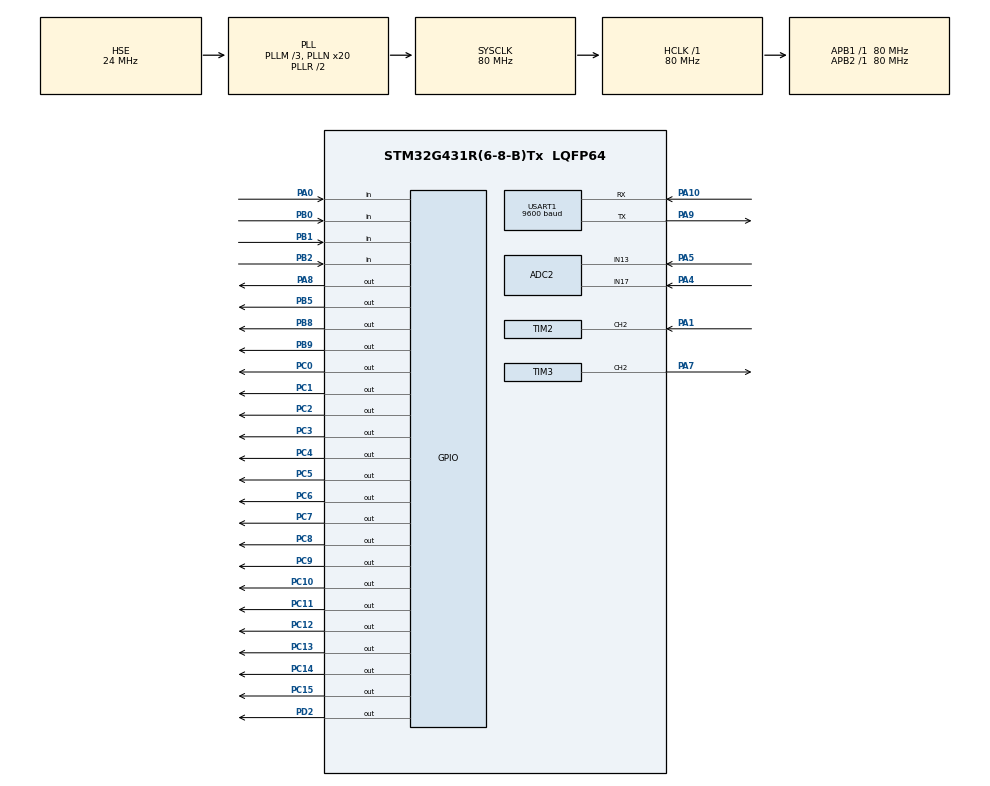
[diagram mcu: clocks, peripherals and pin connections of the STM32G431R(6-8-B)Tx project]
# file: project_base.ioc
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ADC2.Channel-2\#ChannelRegularConversion=ADC_CHANNEL_13
ADC2.Channel-6\#ChannelRegularConversion=ADC_CHANNEL_17
ADC2.EOCSelection=ADC_EOC_SINGLE_CONV
ADC2.EnableInjectedConversion=DISABLE
ADC2.EnableRegularConversion=ENABLE
ADC2.LowPowerAutoWait=DISABLE
ADC2.NbrOfConversion=2
ADC2.NbrOfConversionFlag=1
ADC2.OffsetNumber-2\#ChannelRegularConversion=ADC_OFFSET_NONE
ADC2.OffsetNumber-6\#ChannelRegularConversion=ADC_OFFSET_NONE
ADC2.Rank-2\#ChannelRegularConversion=1
ADC2.Rank-6\#ChannelRegularConversion=2
ADC2.SamplingTime-2\#ChannelRegularConversion=ADC_SAMPLETIME_640CYCLES_5
ADC2.SamplingTime-6\#ChannelRegularConversion=ADC_SAMPLETIME_640CYCLES_5
Mcu.Family=STM32G4
Mcu.Name=STM32G431R(6-8-B)Tx
Mcu.Package=LQFP64
NVIC.PriorityGroup=NVIC_PRIORITYGROUP_4
NVIC.TIM1_TRG_COM_TIM17_IRQn=true\:0\:0\:false\:false\:true\:true\:true\:true
NVIC.TIM2_IRQn=true\:0\:0\:false\:false\:true\:true\:true\:true
NVIC.TIM3_IRQn=true\:0\:0\:false\:false\:true\:true\:true\:true
NVIC.USART1_IRQn=true\:0\:0\:false\:false\:true\:true\:true\:true
PA0.GPIO_PuPd=GPIO_PULLUP
PA0.Signal=GPIO_Input
PA1.Signal=S_TIM2_CH2
PA10.Mode=Asynchronous
PA10.Signal=USART1_RX
PA13.Mode=Serial_Wire
PA13.Signal=SYS_JTMS-SWDIO
PA14.Mode=Serial_Wire
PA14.Signal=SYS_JTCK-SWCLK
PA4.Mode=IN17-Single-Ended
PA4.Signal=ADC2_IN17
PA5.Mode=IN13-Single-Ended
PA5.Signal=ADC2_IN13
PA7.Signal=S_TIM3_CH2
PA8.Signal=GPIO_Output
PA9.Mode=Asynchronous
PA9.Signal=USART1_TX
PB0.GPIO_PuPd=GPIO_PULLUP
PB0.Signal=GPIO_Input
PB1.GPIO_PuPd=GPIO_PULLUP
PB1.Signal=GPIO_Input
PB2.GPIO_PuPd=GPIO_PULLUP
PB2.Signal=GPIO_Input
PB5.Signal=GPIO_Output
PB8-BOOT0.Signal=GPIO_Output
PB9.Signal=GPIO_Output
PC0.Signal=GPIO_Output
PC1.Signal=GPIO_Output
PC10.Signal=GPIO_Output
PC11.Signal=GPIO_Output
PC12.Signal=GPIO_Output
PC13.Signal=GPIO_Output
PC14-OSC32_IN.Signal=GPIO_Output
PC15-OSC32_OUT.Signal=GPIO_Output
PC2.Signal=GPIO_Output
PC3.Signal=GPIO_Output
PC4.Signal=GPIO_Output
PC5.Signal=GPIO_Output
PC6.Signal=GPIO_Output
PC7.Signal=GPIO_Output
PC8.Signal=GPIO_Output
PC9.Signal=GPIO_Output
PD2.Signal=GPIO_Output
PF0-OSC_IN.Mode=HSE-External-Oscillator
PF0-OSC_IN.Signal=RCC_OSC_IN
PF1-OSC_OUT.Mode=HSE-External-Oscillator
PF1-OSC_OUT.Signal=RCC_OSC_OUT
ProjectManager.HeapSize=0x200
ProjectManager.StackSize=0x400
ProjectManager.TargetToolchain=MDK-ARM V5.32
RCC.ADC12Freq_Value=80000000
RCC.AHBFreq_Value=80000000
RCC.APB1Freq_Value=80000000
RCC.APB1TimFreq_Value=80000000
RCC.APB2Freq_Value=80000000
RCC.APB2TimFreq_Value=80000000
RCC.CortexFreq_Value=80000000
RCC.EXTERNAL_CLOCK_VALUE=12288000
RCC.HCLKFreq_Value=80000000
RCC.HSE_VALUE=24000000
RCC.HSI48_VALUE=48000000
RCC.HSI_VALUE=16000000
RCC.LSE_VALUE=32768
RCC.PLLM=RCC_PLLM_DIV3
RCC.PLLN=20
RCC.PLLSourceVirtual=RCC_PLLSOURCE_HSE
RCC.SYSCLKFreq_VALUE=80000000
RCC.SYSCLKSource=RCC_SYSCLKSOURCE_PLLCLK
RCC.USBFreq_Value=80000000
RCC.VCOOutputFreq_Value=160000000
SH.S_TIM2_CH2.0=TIM2_CH2,Input_Capture2_from_TI2
SH.S_TIM2_CH2.1=TIM2_CH2,TriggerSource_TI2FP2
SH.S_TIM3_CH2.0=TIM3_CH2
SH.S_TIM3_CH2.1=TIM3_CH2,PWM Generation2 CH2
TIM17.PeriodNoDither=100-1
TIM17.Prescaler=800-1
TIM2.Channel-Input_Capture2_from_TI2=TIM_CHANNEL_2
TIM2.Prescaler=80-1
TIM3.Channel-PWM\ Generation2\ CH2=TIM_CHANNEL_2
TIM3.PeriodNoDither=100-1
TIM3.Prescaler=80-1
USART1.BaudRate=9600
USART1.VirtualMode-Asynchronous=VM_ASYNC
VP_SYS_VS_DBSignals.Mode=DisableDeadBatterySignals
VP_TIM17_VS_ClockSourceINT.Mode=Enable_Timer
VP_TIM2_VS_ClockSourceINT.Mode=Internal
VP_TIM2_VS_ControllerModeReset.Mode=Reset Mode
board=custom

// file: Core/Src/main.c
/* USER CODE BEGIN Header */
/**
  ******************************************************************************
  * @file           : main.c
  * @brief          : Main program body
  ******************************************************************************
  * @attention
  *
  * Copyright (c) 2025 STMicroelectronics.
  * All rights reserved.
  *
  * This software is licensed under terms that can be found in the LICENSE file
  * in the root directory of this software component.
  * If no LICENSE file comes with this software, it is provided AS-IS.
  *
  ******************************************************************************
  */
/* USER CODE END Header */
#include "main.h"
#include "adc.h"
#include "tim.h"
#include "usart.h"
#include "gpio.h"

void SystemClock_Config(void);

/* USER CODE BEGIN 0 */
void eep_write(u8 addr,u8 data)
{
	I2CStart();
	I2CSendByte(0xa0);
	I2CWaitAck();
	I2CSendByte(addr);
	I2CWaitAck();
	I2CSendByte(data);
	I2CWaitAck();
	I2CStop();
	HAL_Delay(10);
}
u8 eep_read(u8 addr)
{
	u8 data;
	I2CStart();
	I2CSendByte(0xa0);
	I2CWaitAck();
	I2CSendByte(addr);
	I2CWaitAck();
	I2CStop();
	HAL_Delay(100);

	I2CStart();
	I2CSendByte(0xa1);
	I2CWaitAck();
	data=I2CReceiveByte();
	I2CSendNotAck();
	I2CStop();
	HAL_Delay(10);
	return data;
}
double va5,va4;
double V_PA4[100],V_PA5[100],F_PA1,A,T,H;
int tim_1s,tim_1s_con;
u8 lcd_mod=0;//0-shuju 1-canshu 2-jilu
char X,Y,N;
u8 b1,b11,b2,b22,b3,b33,b4,b44;
u8 ADC_CON;
double A4_A,A4_T,A4_H;
double A5_A,A5_T,A5_H;
u8 zero=0;
u8 FREQ_MOD=0;//0-BEI 1-FEN
u8 lcd3_mod=0;
u8 rx[15],rx_len,rx_ok;
int psc;
u8 lcd_turn;
int tim100,ld3;
void HAL_TIM_PeriodElapsedCallback(TIM_HandleTypeDef *htim)
{
	if(htim->Instance==TIM17)
	{
		if(tim_1s_con)
			if(++tim_1s==1000)
			{
				tim_1s_con=0;
				tim_1s=0;
				N=0;
			}
		if(++tim100==100)
		{
			tim100=0;
			ld3^=1;
		}
	}
}
void HAL_TIM_IC_CaptureCallback(TIM_HandleTypeDef *htim)
{
	if(htim->Instance==TIM2)
	{
		F_PA1=1000000.0/HAL_TIM_ReadCapturedValue(&htim2,TIM_CHANNEL_2);
	}
}
void lcd(void)
{
	u8 text[25];
	if(lcd_mod==0)
	{
		sprintf((char *)text,"        DATA          ");
		LCD_DisplayStringLine(Line1, (unsigned char *)text);
		if(N==0)
		{
			sprintf((char *)text,"     V_PA4:0.00       ");
			LCD_DisplayStringLine(Line3, (unsigned char *)text);
			sprintf((char *)text,"     V_PA5:0.00       ");
			LCD_DisplayStringLine(Line4, (unsigned char *)text);
		}
		else
		{
		  sprintf((char *)text,"     V_PA4:%.1f       ",V_PA4[N-1]);
		  LCD_DisplayStringLine(Line3, (unsigned char *)text);
		  sprintf((char *)text,"     V_PA5:%.1f       ",V_PA5[N-1]);
		  LCD_DisplayStringLine(Line4, (unsigned char *)text);
		}
		sprintf((char *)text,"     F_PA1:%.0f       ",F_PA1);
		LCD_DisplayStringLine(Line5, (unsigned char *)text);
	}
	if(lcd_mod==1)
	{
	  sprintf((char *)text,"        PARA          ");
	  LCD_DisplayStringLine(Line1, (unsigned char *)text);
	  sprintf((char *)text,"     X=:%d       ",X);
	  LCD_DisplayStringLine(Line3, (unsigned char *)text);
	  sprintf((char *)text,"     Y=:%d       ",Y);
	  LCD_DisplayStringLine(Line4, (unsigned char *)text);
	}
	if(lcd_mod==2)
	{
	  if(lcd3_mod==0) sprintf((char *)text,"        REC-PA4       ");
	  if(lcd3_mod==1) sprintf((char *)text,"        REC-PA5       ");
	  LCD_DisplayStringLine(Line1, (unsigned char *)text);
	  sprintf((char *)text,"     N=:%d       ",N);
	  LCD_DisplayStringLine(Line3, (unsigned char *)text);
	  sprintf((char *)text,"     A=:%.2f       ",A);
	  LCD_DisplayStringLine(Line4, (unsigned char *)text);
	  sprintf((char *)text,"     T=:%.2f       ",T);
	  LCD_DisplayStringLine(Line5, (unsigned char *)text);
	  sprintf((char *)text,"     H=:%.2f       ",H);
	  LCD_DisplayStringLine(Line6, (unsigned char *)text);
	}
}
void key(void)
{
	//0-shuju 1-canshu 2-jilu
	if(HAL_GPIO_ReadPin(GPIOB,GPIO_PIN_0)==0)	b1=1;
	else b1=0;
	if(b1==1&&b11==0)
	{
		b11=1;
		if(++lcd_mod==3) lcd_mod=0;
		LCD_Clear(Black);
	}if(b1==0&&b11==1) b11=0;

	if(HAL_GPIO_ReadPin(GPIOB,GPIO_PIN_1)==0)	b2=1;
	else b2=0;
	if(b2==1&&b22==0)
	{
		b22=1;
		if(lcd_mod==1)
		{
			if(++X>=5) X=1;
			eep_write(1,X);
		}
	}if(b2==0&&b22==1) b22=0;

	if(HAL_GPIO_ReadPin(GPIOB,GPIO_PIN_2)==0)	b3=1;
	else b3=0;
	if(b3==1&&b33==0)
	{
		b33=1;
		if(lcd_mod==1)
		{
			if(++Y>=5) Y=1;
			eep_write(0,Y);
		}
	}if(b3==0&&b33==1) b33=0;

	if(HAL_GPIO_ReadPin(GPIOA,GPIO_PIN_0)==0)	b4=1;
	else b4=0;
	if(b4==1&&b44==0)
	{
		b44=1;
		if(lcd_mod==0)
		{
			ADC_CON=1;
		}
		if(lcd_mod==1)
		{
			FREQ_MOD^=1;
		}
		if(lcd_mod==2)
		{
			tim_1s_con=1;
			tim_1s=0;
		}
	}
	if(b4==0&&b44==1)
	{
		if(tim_1s_con==1)
		{
			lcd3_mod^=1;
			tim_1s_con=0;
			tim_1s=0;
		}
		b44=0;
	}
}
void uart(void)
{
	u8 t[10],i,n=0;
	if(rx_ok)
	{
		rx_ok=0;
		if(strcmp((char *)rx,"X")==0)
		{
			sprintf((char *)t,"X:%d",X);
			HAL_UART_Transmit(&huart1,t,3,HAL_MAX_DELAY);
		}
		if(strcmp((char *)rx,"Y")==0)
		{
			sprintf((char *)t,"Y:%d",Y);
			HAL_UART_Transmit(&huart1,t,3,HAL_MAX_DELAY);
		}
		if(strcmp((char *)rx,"PA1")==0)
		{
			sprintf((char *)t,"PA1:%.0f",F_PA1);
			HAL_UART_Transmit(&huart1,t,strlen((char *)t),HAL_MAX_DELAY);
		}
		if(strcmp((char *)rx,"PA4")==0)
		{
			sprintf((char *)t,"PA4:%.2f",V_PA4[N-1]);
			HAL_UART_Transmit(&huart1,t,strlen((char *)t),HAL_MAX_DELAY);
		}
		if(strcmp((char *)rx,"PA5")==0)
		{
			sprintf((char *)t,"PA5:%.2f",V_PA5[N-1]);
			HAL_UART_Transmit(&huart1,t,strlen((char *)t),HAL_MAX_DELAY);
		}
		if(strcmp((char *)rx,"#")==0)
		{
			lcd_turn^=1;
			if(lcd_turn)
			{
				LCD_Clear(Black);
				LCD_WriteReg(R1, 0x0000);   // set SS and SM bit		  //0x0100
				LCD_WriteReg(R96, 0x2700);  // Gate Scan Line		  0xA700
			}
			else
			{
				LCD_Clear(Black);
				LCD_WriteReg(R1, 0x0100);   // set SS and SM bit		  //0x0100
				LCD_WriteReg(R96, 0xA700);  // Gate Scan Line		  0xA700
			}
		}
		memset(rx,'\0',sizeof(rx));
	}
}
/* USER CODE END 0 */

int main(void)
{

  /* MCU Configuration--------------------------------------------------------*/

  /* Reset of all peripherals, Initializes the Flash interface and the Systick. */
  HAL_Init();

  /* Configure the system clock */
  SystemClock_Config();

  /* Initialize all configured peripherals */
  MX_GPIO_Init();
  MX_ADC2_Init();
  MX_TIM2_Init();
  MX_TIM3_Init();
  MX_TIM17_Init();
  MX_USART1_UART_Init();

  /* Infinite loop */
  /* USER CODE BEGIN WHILE */
	LCD_Init();
	LCD_SetBackColor(Black);
	LCD_SetTextColor(White);
	LCD_Clear(Black);
	HAL_TIM_Base_Start_IT(&htim17);
	HAL_ADCEx_Calibration_Start(&hadc2,ADC_SINGLE_ENDED);
	HAL_TIM_IC_Start_IT(&htim2,TIM_CHANNEL_2);
	I2CInit();
	HAL_Delay(10);
	X=eep_read(1);
	HAL_Delay(10);
	Y=eep_read(0);
	HAL_Delay(10);
	HAL_TIM_PWM_Start(&htim3,TIM_CHANNEL_2);
	__HAL_UART_ENABLE_IT(&huart1,UART_IT_RXNE);
	__HAL_UART_ENABLE_IT(&huart1,UART_IT_IDLE);
	while (1)
	{
		HAL_GPIO_WritePin(GPIOC,(uint16_t)0xFF00,1);
		if(FREQ_MOD==0)	HAL_GPIO_WritePin(GPIOC,GPIO_PIN_8,0);
		if(FREQ_MOD==1)	HAL_GPIO_WritePin(GPIOC,GPIO_PIN_9,0);
		if(V_PA4[N-1]>V_PA5[N-1])	HAL_GPIO_WritePin(GPIOC,GPIO_PIN_10,ld3);
		else HAL_GPIO_WritePin(GPIOC,GPIO_PIN_10,1);
		if(lcd_turn==0) HAL_GPIO_WritePin(GPIOC,GPIO_PIN_11,0);
		HAL_GPIO_WritePin(GPIOD,GPIO_PIN_2,1);
		HAL_GPIO_WritePin(GPIOD,GPIO_PIN_2,0);
		lcd();key();uart();
		if(FREQ_MOD==0) TIM3->PSC=80000000.0/100.0/(F_PA1*X);
		if(FREQ_MOD==1) TIM3->PSC=80000000.0/100.0/(F_PA1/X);
		psc=TIM3->PSC;
		__HAL_TIM_SetCompare(&htim3,TIM_CHANNEL_2,50);
		HAL_ADC_Start(&hadc2);
		va5=HAL_ADC_GetValue(&hadc2)/4090.0*3.3;
		HAL_ADC_Start(&hadc2);
		va4=HAL_ADC_GetValue(&hadc2)/4090.0*3.3;
		if(ADC_CON)
		{
			ADC_CON=0;
			N++;
			V_PA4[N-1]=va4;
			V_PA5[N-1]=va5;

			if(N==1)
			{
				A4_A=V_PA4[N-1];A5_A=V_PA5[N-1];
				A4_T=V_PA4[N-1];A5_T=V_PA5[N-1];
				A5_H=V_PA5[N-1];A4_H=V_PA4[N-1];
			}
			if(N>1)
			{
				if(va4>=A4_A)	A4_A=va4;
				if(va5>=A5_A)	A5_A=va5;
				if(va4<=A4_T)	A4_T=va4;
				if(va5<=A4_T)	A4_T=va5;
			}

			int i;
			double sum_a4=0,sum_a5=0;
			for(i=0;i<N;i++)
			{
				sum_a4+=V_PA4[i];
				sum_a5+=V_PA5[i];
			}
			A4_H=sum_a4/N;
			A5_H=sum_a5/N;
		}
		if(N==0)
		{
			A=0;T=0;H=0;
		}
		else if(lcd3_mod==0)
		{
			A=A4_A;
			T=A4_T;
			H=A4_H;
		}
		else if(lcd3_mod==1)
		{
			A=A5_A;
			T=A5_T;
			H=A5_H;
		}
    /* USER CODE END WHILE */

  }
}

void SystemClock_Config(void)
{
  RCC_OscInitTypeDef RCC_OscInitStruct = {0};
  RCC_ClkInitTypeDef RCC_ClkInitStruct = {0};

  /** Configure the main internal regulator output voltage
  */
  HAL_PWREx_ControlVoltageScaling(PWR_REGULATOR_VOLTAGE_SCALE1);

  /** Initializes the RCC Oscillators according to the specified parameters
  * in the RCC_OscInitTypeDef structure.
  */
  RCC_OscInitStruct.OscillatorType = RCC_OSCILLATORTYPE_HSE;
  RCC_OscInitStruct.HSEState = RCC_HSE_ON;
  RCC_OscInitStruct.PLL.PLLState = RCC_PLL_ON;
  RCC_OscInitStruct.PLL.PLLSource = RCC_PLLSOURCE_HSE;
  RCC_OscInitStruct.PLL.PLLM = RCC_PLLM_DIV3;
  RCC_OscInitStruct.PLL.PLLN = 20;
  RCC_OscInitStruct.PLL.PLLP = RCC_PLLP_DIV2;
  RCC_OscInitStruct.PLL.PLLQ = RCC_PLLQ_DIV2;
  RCC_OscInitStruct.PLL.PLLR = RCC_PLLR_DIV2;
  if (HAL_RCC_OscConfig(&RCC_OscInitStruct) != HAL_OK)
  {
    Error_Handler();
  }

  /** Initializes the CPU, AHB and APB buses clocks
  */
  RCC_ClkInitStruct.ClockType = RCC_CLOCKTYPE_HCLK|RCC_CLOCKTYPE_SYSCLK
                              |RCC_CLOCKTYPE_PCLK1|RCC_CLOCKTYPE_PCLK2;
  RCC_ClkInitStruct.SYSCLKSource = RCC_SYSCLKSOURCE_PLLCLK;
  RCC_ClkInitStruct.AHBCLKDivider = RCC_SYSCLK_DIV1;
  RCC_ClkInitStruct.APB1CLKDivider = RCC_HCLK_DIV1;
  RCC_ClkInitStruct.APB2CLKDivider = RCC_HCLK_DIV1;

  if (HAL_RCC_ClockConfig(&RCC_ClkInitStruct, FLASH_LATENCY_2) != HAL_OK)
  {
    Error_Handler();
  }
}

void Error_Handler(void)
{
  __disable_irq();
  while (1)
  {
  }
}
